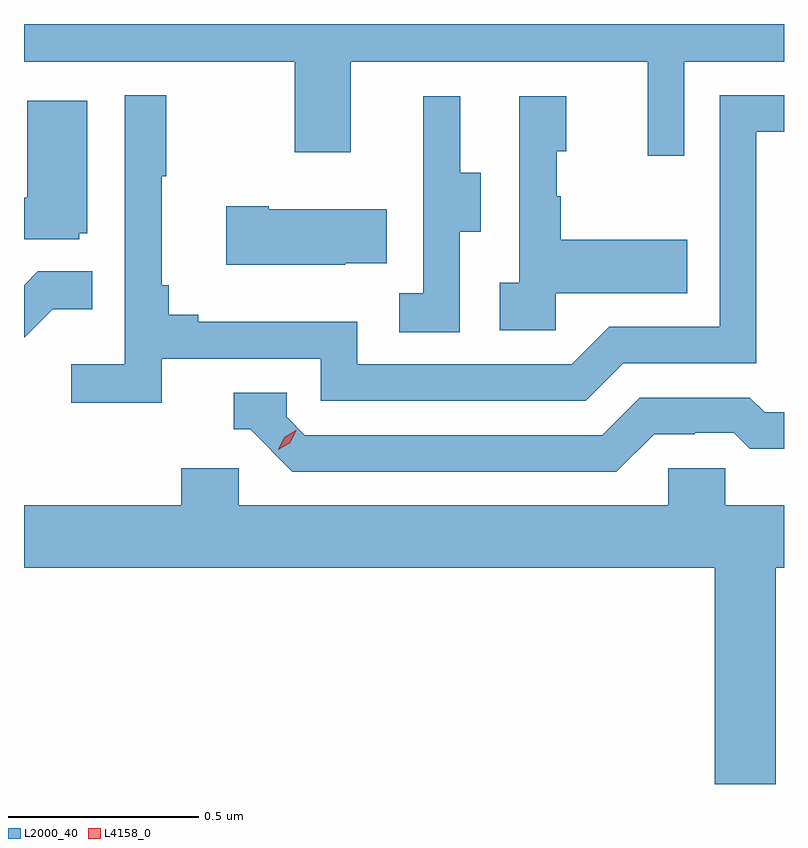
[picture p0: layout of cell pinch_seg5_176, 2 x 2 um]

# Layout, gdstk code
import gdstk
lib = gdstk.Library(unit=1e-6, precision=1e-09)
def P(c, l, *ps):  # polygons
    for p in ps: c.add(gdstk.Polygon(p, *l))
L2000_40 = (2000, 40)
L4158_0 = (4158, 0)

pinch_seg5_176 = lib.new_cell('pinch_seg5_176')
P(pinch_seg5_176, L2000_40, [(1133.217,891.392),(1133.479,891.392),(1133.479,891.491),(1131.479,891.491),(1131.479,891.392),(1132.192,891.392),(1132.192,891.153),(1132.339,891.153),(1132.339,891.392),(1133.12,891.392),(1133.12,891.144),(1133.217,891.144)],
  [(1131.842,890.61),(1132.26,890.61),(1132.26,890.499),(1132.957,890.499),(1133.056,890.598),(1133.406,890.598),(1133.406,891.207),(1133.479,891.207),(1133.479,891.303),(1133.31,891.303),(1133.31,890.694),(1133.019,890.694),(1132.92,890.595),(1132.356,890.595),(1132.356,890.707),(1131.937,890.707),(1131.937,890.726),(1131.86,890.726),(1131.86,890.803),(1131.841,890.803),(1131.841,891.091),(1131.853,891.091),(1131.853,891.304),(1131.744,891.304),(1131.744,890.596),(1131.603,890.596),(1131.603,890.494),(1131.842,890.494)],
  [(1132.878,890.783),(1133.225,890.783),(1133.225,890.923),(1132.891,890.923),(1132.891,891.038),(1132.881,891.038),(1132.881,891.156),(1132.906,891.156),(1132.906,891.301),(1132.782,891.301),(1132.782,890.81),(1132.731,890.81),(1132.731,890.685),(1132.878,890.685)],
  [(1132.626,890.944),(1132.681,890.944),(1132.681,891.099),(1132.627,891.099),(1132.627,891.301),(1132.529,891.301),(1132.529,891.087),(1132.53,891.087),(1132.53,890.783),(1132.467,890.783),(1132.467,890.68),(1132.626,890.68)],
  [(1131.624,890.94),(1131.646,890.94),(1131.646,891.289),(1131.488,891.289),(1131.488,891.034),(1131.479,891.034),(1131.479,890.925),(1131.624,890.925)],
  [(1132.325,890.861),(1132.433,890.861),(1132.433,891.004),(1132.123,891.004),(1132.123,891.012),(1132.011,891.012),(1132.011,890.858),(1132.325,890.858)],
  [(1131.555,890.741),(1131.659,890.741),(1131.659,890.84),(1131.515,890.84),(1131.479,890.804),(1131.479,890.665)],
  [(1133.137,890.412),(1133.244,890.412),(1133.244,890.415),(1133.347,890.415),(1133.389,890.373),(1133.479,890.373),(1133.479,890.469),(1133.428,890.469),(1133.389,890.508),(1133.1,890.508),(1133.001,890.409),(1132.218,890.409),(1132.17,890.457),(1132.17,890.52),(1132.031,890.52),(1132.031,890.424),(1132.074,890.424),(1132.185,890.313),(1133.038,890.313)],
  [(1133.457,890.06),(1133.479,890.06),(1133.479,890.224),(1133.325,890.224),(1133.325,890.322),(1133.175,890.322),(1133.175,890.224),(1132.044,890.224),(1132.044,890.322),(1131.893,890.322),(1131.893,890.224),(1131.479,890.224),(1131.479,890.06),(1133.297,890.06),(1133.297,889.491),(1133.457,889.491)])
P(pinch_seg5_176, L4158_0, [(1132.148,890.37),(1132.148,890.37),(1132.164,890.403),(1132.194,890.422),(1132.195,890.422),(1132.195,890.422),(1132.179,890.389),(1132.148,890.37)])

lib.write_gds('pinch_seg5_176.gds')
